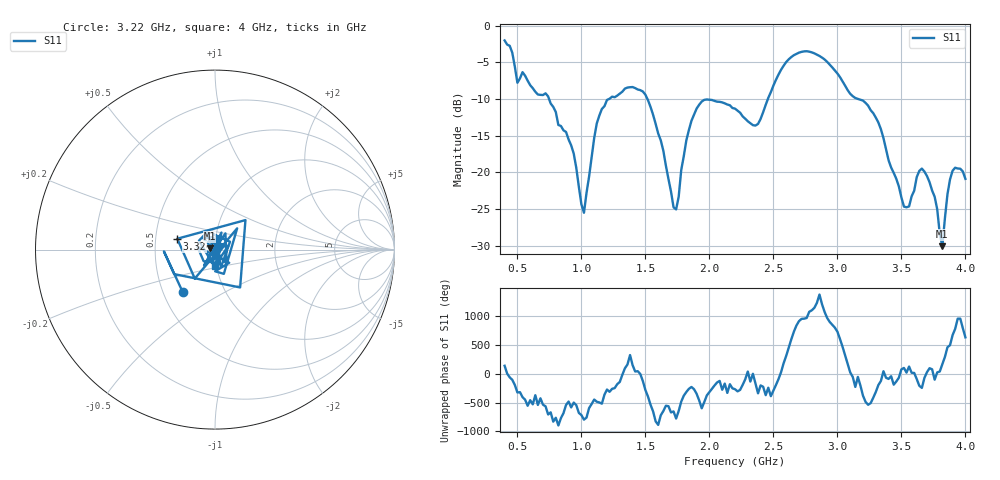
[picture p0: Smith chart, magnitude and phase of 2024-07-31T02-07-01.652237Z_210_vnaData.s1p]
!Created with skrf (http://scikit-rf.org).
# Hz S RI R 50.0
!freq ReS11 ImS11
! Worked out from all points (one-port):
!   181 points, 400 MHz to 4 GHz, reference 50 ohm
!   lowest |S11| = -30.0 dB at 3.82 GHz (marker M1), VSWR 1.06, Z = 47 + j0.721 ohm
!   |S11| at or under -10 dB: 747.1 MHz to 1.216 GHz (469.2 MHz wide, 47.8 % of centre); 1.516 GHz to 2.457 GHz (941.2 MHz wide, 47.4 % of centre); 3.161 GHz to end of sweep
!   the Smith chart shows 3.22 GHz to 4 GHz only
!   S11 on the Smith chart (normalised r, x): 3.22 GHz: 0.63, -0.33; 3.32 GHz: 0.65, +0.08; 4 GHz: 0.99, -0.18
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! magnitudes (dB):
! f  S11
! 400 MHz  -2.0
! 500 MHz  -7.8
! 720 MHz  -9.2
! 860 MHz  -14.3
! 940 MHz  -17.4
! 1.02 GHz  -25.5
! 1.12 GHz  -13.3
! 1.3 GHz  -9.3
! 1.5 GHz  -9.4
! 1.62 GHz  -15.6
! 1.72 GHz  -24.8
! 1.76 GHz  -23.3
! 1.82 GHz  -15.6
! 1.9 GHz  -11.3
! 2.2 GHz  -11.3
! 2.38 GHz  -13.4
! 2.66 GHz  -4.0
! 2.88 GHz  -4.4
! 3.1 GHz  -9.3
! 3.22 GHz  -10.5
! 3.32 GHz  -13.2
! 3.56 GHz  -24.6
! 3.68 GHz  -19.9
! 3.76 GHz  -23.3
! 3.82 GHz  -30.0
! 3.86 GHz  -23.0
! 3.9 GHz  -19.8
! 4 GHz  -20.9
